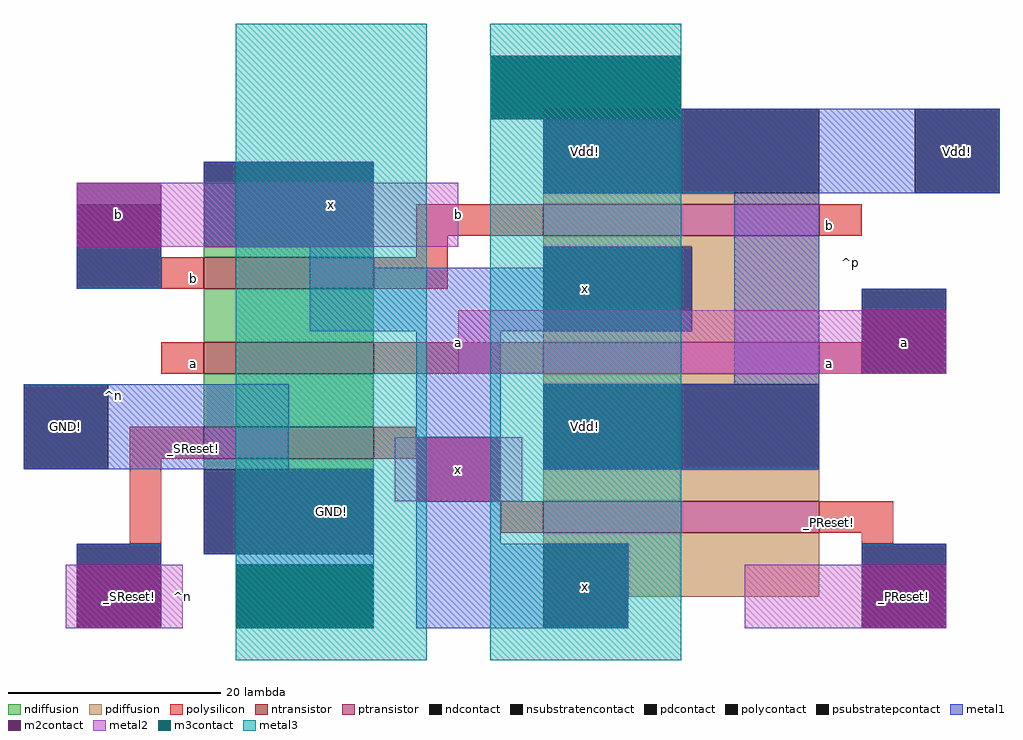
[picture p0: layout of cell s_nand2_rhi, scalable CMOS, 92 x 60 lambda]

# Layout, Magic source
magic
tech scmos
<< ndiffusion >>
rect -24 104 -8 105
rect -24 96 -8 101
rect -24 88 -8 93
rect -24 84 -8 85
<< pdiffusion >>
rect 8 109 34 110
rect 8 105 34 106
rect 22 97 34 105
rect 8 96 34 97
rect 8 92 34 93
rect 8 81 34 84
rect 8 77 34 78
rect 16 72 34 77
<< ntransistor >>
rect -24 101 -8 104
rect -24 93 -8 96
rect -24 85 -8 88
<< ptransistor >>
rect 8 106 34 109
rect 8 93 34 96
rect 8 78 34 81
<< polysilicon >>
rect -4 106 8 109
rect 34 106 38 109
rect -4 104 -1 106
rect -28 101 -24 104
rect -8 101 -1 104
rect -28 93 -24 96
rect -8 93 8 96
rect 34 93 38 96
rect -31 85 -24 88
rect -8 85 -4 88
rect -31 77 -28 85
rect 4 78 8 81
rect 34 78 41 81
rect 38 77 41 78
<< ndcontact >>
rect -24 105 -8 113
rect -24 76 -8 84
<< pdcontact >>
rect 8 110 34 118
rect 8 97 22 105
rect 8 84 34 92
rect 8 69 16 77
<< psubstratepcontact >>
rect -41 84 -33 92
<< nsubstratencontact >>
rect 43 110 51 118
<< polycontact >>
rect -36 101 -28 109
rect 38 93 46 101
rect -36 69 -28 77
rect 38 69 46 77
<< metal1 >>
rect 21 117 51 118
rect -24 105 -8 113
rect 8 110 51 117
rect -36 101 -28 105
rect -14 103 -8 105
rect 8 103 22 105
rect -14 97 22 103
rect -41 84 -16 92
rect -4 87 4 97
rect 26 92 34 110
rect 38 99 46 101
rect -36 75 -28 77
rect -24 76 -8 84
rect -21 75 -8 76
rect 8 84 34 92
rect -4 77 4 81
rect -4 69 16 77
rect 38 75 46 77
<< m2contact >>
rect 3 117 21 123
rect -36 105 -28 111
rect 38 93 46 99
rect -36 69 -28 75
rect -21 69 -8 75
rect -4 81 4 87
rect 38 69 46 75
<< metal2 >>
rect -36 105 0 111
rect 0 93 46 99
rect -6 81 6 87
rect -37 69 -26 75
rect 27 69 46 75
<< m3contact >>
rect 3 117 21 123
rect -21 69 -8 75
<< metal3 >>
rect -21 66 -3 126
rect 3 66 21 126
<< labels >>
rlabel polysilicon -25 86 -25 86 3 _SReset!
rlabel polysilicon -25 102 -25 102 3 b
rlabel polysilicon -25 94 -25 94 3 a
rlabel metal1 12 101 12 101 1 x
rlabel metal1 12 114 12 114 5 Vdd!
rlabel metal1 12 88 12 88 1 Vdd!
rlabel metal1 -12 80 -12 80 1 GND!
rlabel metal1 -12 109 -12 109 1 x
rlabel metal1 12 73 12 73 1 x
rlabel polysilicon 35 107 35 107 1 b
rlabel polysilicon 35 94 35 94 1 a
rlabel polysilicon 35 79 35 79 1 _PReset!
rlabel metal2 0 93 0 99 3 a
rlabel metal2 0 105 0 111 7 b
rlabel metal2 42 72 42 72 1 _PReset!
rlabel metal2 -31 72 -31 72 1 _SReset!
rlabel metal2 -26 69 -26 75 3 ^n
rlabel metal2 0 81 0 87 1 x
rlabel metal1 47 114 47 114 7 Vdd!
rlabel space 22 88 52 119 3 ^p
rlabel metal1 -37 88 -37 88 3 GND!
rlabel space -42 68 -23 114 7 ^n
rlabel metal2 -32 108 -32 108 1 b
rlabel metal2 42 96 42 96 1 a
<< end >>
